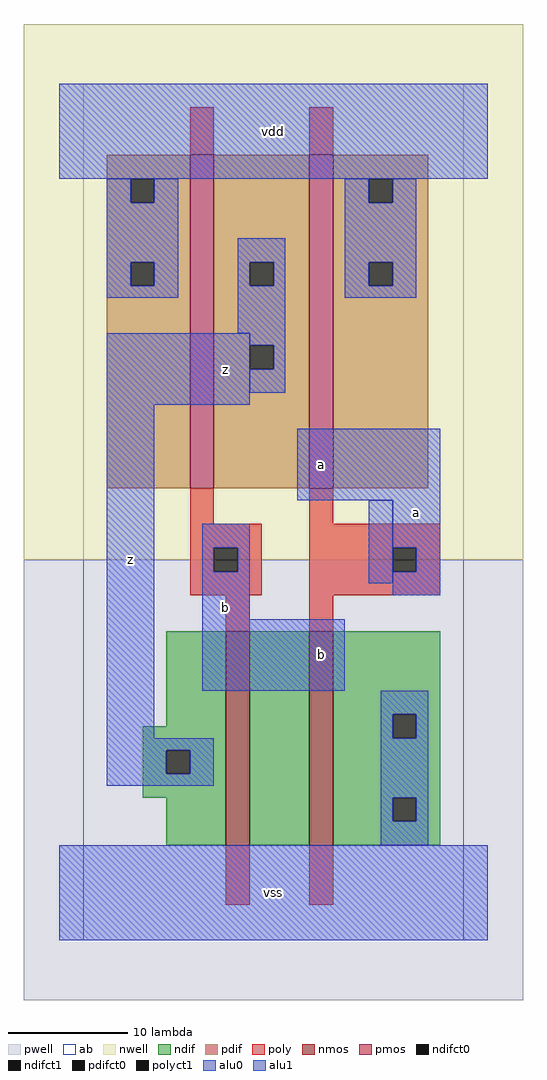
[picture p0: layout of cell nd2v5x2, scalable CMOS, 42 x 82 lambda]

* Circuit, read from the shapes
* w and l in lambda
.subckt nd2v5x2 a b vdd vss z
M1 n1 b z VSUBS nfet w=18 l=2
M2 vss a n1 VSUBS nfet w=18 l=2
M3 z b vdd n2 pfet w=28 l=2
M4 vdd a z n2 pfet w=28 l=2
.ends

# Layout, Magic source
magic
tech scmos
<< ab >>
rect 0 0 32 72
<< nwell >>
rect -5 32 37 77
<< pwell >>
rect -5 -5 37 32
<< poly >>
rect 9 66 11 70
rect 19 66 21 70
rect 9 35 11 38
rect 19 35 21 38
rect 9 33 15 35
rect 9 31 11 33
rect 13 31 15 33
rect 9 29 15 31
rect 19 33 30 35
rect 19 31 26 33
rect 28 31 30 33
rect 19 29 30 31
rect 12 26 14 29
rect 19 26 21 29
rect 12 3 14 8
rect 19 3 21 8
<< ndif >>
rect 7 18 12 26
rect 5 16 12 18
rect 5 14 7 16
rect 9 14 12 16
rect 5 12 12 14
rect 7 8 12 12
rect 14 8 19 26
rect 21 19 30 26
rect 21 17 26 19
rect 28 17 30 19
rect 21 12 30 17
rect 21 10 26 12
rect 28 10 30 12
rect 21 8 30 10
<< pdif >>
rect 2 64 9 66
rect 2 62 4 64
rect 6 62 9 64
rect 2 57 9 62
rect 2 55 4 57
rect 6 55 9 57
rect 2 38 9 55
rect 11 57 19 66
rect 11 55 14 57
rect 16 55 19 57
rect 11 50 19 55
rect 11 48 14 50
rect 16 48 19 50
rect 11 38 19 48
rect 21 64 29 66
rect 21 62 24 64
rect 26 62 29 64
rect 21 57 29 62
rect 21 55 24 57
rect 26 55 29 57
rect 21 38 29 55
<< alu1 >>
rect -2 64 34 72
rect 2 45 14 51
rect 2 17 6 45
rect 18 37 30 43
rect 10 33 14 35
rect 10 31 11 33
rect 13 31 14 33
rect 10 27 14 31
rect 26 33 30 37
rect 28 31 30 33
rect 26 29 30 31
rect 10 21 22 27
rect 2 16 11 17
rect 2 14 7 16
rect 9 14 11 16
rect 2 13 11 14
rect -2 0 34 8
<< nmos >>
rect 12 8 14 26
rect 19 8 21 26
<< pmos >>
rect 9 38 11 66
rect 19 38 21 66
<< polyct1 >>
rect 11 31 13 33
rect 26 31 28 33
<< ndifct0 >>
rect 26 17 28 19
rect 26 10 28 12
<< ndifct1 >>
rect 7 14 9 16
<< pdifct0 >>
rect 4 62 6 64
rect 4 55 6 57
rect 14 55 16 57
rect 14 48 16 50
rect 24 62 26 64
rect 24 55 26 57
<< alu0 >>
rect 2 62 4 64
rect 6 62 8 64
rect 2 57 8 62
rect 22 62 24 64
rect 26 62 28 64
rect 2 55 4 57
rect 6 55 8 57
rect 2 54 8 55
rect 13 57 17 59
rect 13 55 14 57
rect 16 55 17 57
rect 13 51 17 55
rect 22 57 28 62
rect 22 55 24 57
rect 26 55 28 57
rect 22 54 28 55
rect 14 50 17 51
rect 16 48 17 50
rect 14 46 17 48
rect 24 30 26 37
rect 25 19 29 21
rect 25 17 26 19
rect 28 17 29 19
rect 25 12 29 17
rect 25 10 26 12
rect 28 10 29 12
rect 25 8 29 10
<< labels >>
rlabel alu1 4 32 4 32 6 z
rlabel alu1 12 28 12 28 6 b
rlabel alu1 12 48 12 48 6 z
rlabel alu1 16 4 16 4 6 vss
rlabel alu1 20 24 20 24 6 b
rlabel alu1 20 40 20 40 6 a
rlabel alu1 16 68 16 68 6 vdd
rlabel alu1 28 36 28 36 6 a
<< end >>
